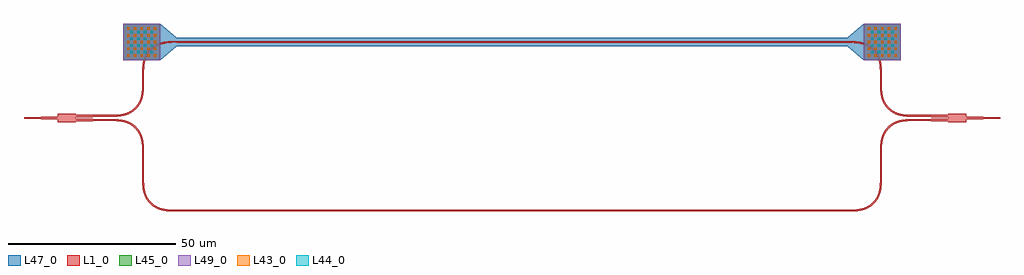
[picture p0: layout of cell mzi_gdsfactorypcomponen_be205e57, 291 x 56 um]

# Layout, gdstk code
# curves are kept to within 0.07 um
from math import pi, radians
import gdstk
lib = gdstk.Library(unit=1e-6, precision=1e-09)
def R(c, l, rs):  # rectangles x0, y0, x1, y1
    for r in rs: c.add(gdstk.rectangle(r[:2], r[2:], *l))
def A(c, l, x, y, w, h, nx, ny, dx, dy):  # array of equal rectangles
    R(c, l, [(x+i*dx, y+j*dy, x+i*dx+w, y+j*dy+h) for i in range(nx) for j in range(ny)])
def P(c, l, *ps):  # polygons
    for p in ps: c.add(gdstk.Polygon(p, *l))
L1_0 = (1, 0)
L43_0 = (43, 0)
L44_0 = (44, 0)
L45_0 = (45, 0)
L47_0 = (47, 0)
L49_0 = (49, 0)

mmi1x2_gdsfactorypcompo_ = lib.new_cell('mmi1x2_gdsfactorypcompo_1f097353')
P(mmi1x2_gdsfactorypcompo_, L1_0, [(0,-1.25),(0,-0.5),(-10,-0.25),(-10,0.25),(0,0.5),(0,1.25),(5.5,1.25),(5.5,1.125),(15.5,0.875),(15.5,0.375),(5.5,0.125),(5.5,-0.125),(15.5,-0.375),(15.5,-0.875),(5.5,-1.125),(5.5,-1.25)])

bend_euler_gdsfactorypc_ = lib.new_cell('bend_euler_gdsfactorypc_387600b2')
P(bend_euler_gdsfactorypc_, L1_0, [(0,-0.25),(0,0.25),(2.881,0.353),(3.952,0.52),(4.99,0.806),(6.431,1.505),(7.575,2.425),(8.495,3.569),(9.194,5.01),(9.48,6.048),(9.647,7.119),(9.75,10),(10.25,10),(10.158,7.205),(9.797,5.254),(9.457,4.312),(9.066,3.545),(8.5,2.715),(7.928,2.072),(7.285,1.5),(6.455,0.934),(5.688,0.543),(4.746,0.203),(2.795,-0.158)])

straight_gdsfactorypcom_ = lib.new_cell('straight_gdsfactorypcom_815d3d03')
R(straight_gdsfactorypcom_, L1_0, [(0,-0.25,2,0.25)])

c_straight_gdsfactorypcom_ = lib.new_cell('straight_gdsfactorypcom_ecd9aecc')
R(c_straight_gdsfactorypcom_, L1_0, [(0,-0.25,7,0.25)])

straight_heater_metal_u_ = lib.new_cell('straight_heater_metal_u_1d53e79c')
R(straight_heater_metal_u_, L1_0, [(0,-0.25,200,0.25)])
A(straight_heater_metal_u_, L43_0, -14.75, -4.35, 0.7, 0.7, 5, 5, 2, 2)
A(straight_heater_metal_u_, L43_0, 206.05, -4.35, 0.7, 0.7, 5, 5, 2, 2)
A(straight_heater_metal_u_, L44_0, -13.75, -3.35, 0.7, 0.7, 4, 4, 2, 2)
A(straight_heater_metal_u_, L44_0, 207.05, -3.35, 0.7, 0.7, 4, 4, 2, 2)
R(straight_heater_metal_u_, L45_0, [(-15.9,-5.5,-4.9,5.5), (204.9,-5.5,215.9,5.5)])
P(straight_heater_metal_u_, L47_0, [(-15.9,-5.5),(-15.9,5.5),(-4.9,5.5),(0.1,1.25),(199.9,1.25),(204.9,5.5),(215.9,5.5),(215.9,-5.5),(204.9,-5.5),(199.9,-1.25),(0.1,-1.25),(-4.9,-5.5)])
R(straight_heater_metal_u_, L49_0, [(-15.9,-5.5,-4.9,5.5), (204.9,-5.5,215.9,5.5)])

c_straight_gdsfactorypcom__ = lib.new_cell('straight_gdsfactorypcom_df487717')
R(c_straight_gdsfactorypcom__, L1_0, [(0,-0.25,200,0.25)])

mzi_gdsfactorypcomponen_ = lib.new_cell('mzi_gdsfactorypcomponen_be205e57')
mzi_gdsfactorypcomponen_.add(gdstk.Reference(mmi1x2_gdsfactorypcompo_, (0,0)))
mzi_gdsfactorypcomponen_.add(gdstk.Reference(bend_euler_gdsfactorypc_, (15.5,-0.625), x_reflection=True))
mzi_gdsfactorypcomponen_.add(gdstk.Reference(bend_euler_gdsfactorypc_, (25.5,-17.625), rotation=3*pi/2))
mzi_gdsfactorypcomponen_.add(gdstk.Reference(bend_euler_gdsfactorypc_, (15.5,0.625)))
mzi_gdsfactorypcomponen_.add(gdstk.Reference(bend_euler_gdsfactorypc_, (35.5,22.625), rotation=pi))
mzi_gdsfactorypcomponen_.add(gdstk.Reference(bend_euler_gdsfactorypc_, (245.5,12.625), rotation=pi/2))
mzi_gdsfactorypcomponen_.add(gdstk.Reference(bend_euler_gdsfactorypc_, (245.5,10.625), rotation=3*pi/2))
mzi_gdsfactorypcomponen_.add(gdstk.Reference(bend_euler_gdsfactorypc_, (235.5,-27.625)))
mzi_gdsfactorypcomponen_.add(gdstk.Reference(bend_euler_gdsfactorypc_, (255.5,-0.625), rotation=pi))
mzi_gdsfactorypcomponen_.add(gdstk.Reference(straight_gdsfactorypcom_, (25.5,10.625), rotation=pi/2))
mzi_gdsfactorypcomponen_.add(gdstk.Reference(c_straight_gdsfactorypcom_, (25.5,-10.625), rotation=3*pi/2))
mzi_gdsfactorypcomponen_.add(gdstk.Reference(straight_heater_metal_u_, (35.5,22.625)))
mzi_gdsfactorypcomponen_.add(gdstk.Reference(c_straight_gdsfactorypcom__, (35.5,-27.625)))
mzi_gdsfactorypcomponen_.add(gdstk.Reference(mmi1x2_gdsfactorypcompo_, (271,0), rotation=pi, x_reflection=True))
mzi_gdsfactorypcomponen_.add(gdstk.Reference(straight_gdsfactorypcom_, (245.5,10.625), rotation=pi/2))
mzi_gdsfactorypcomponen_.add(gdstk.Reference(c_straight_gdsfactorypcom_, (245.5,-17.625), rotation=pi/2))

lib.write_gds('mzi_gdsfactorypcomponen_be205e57.gds')
